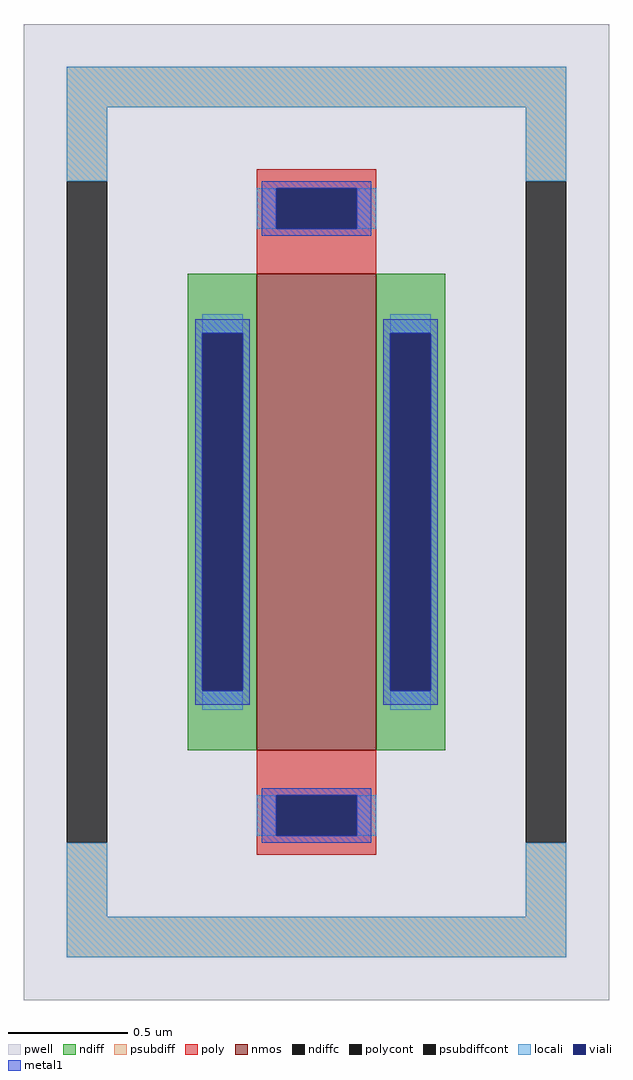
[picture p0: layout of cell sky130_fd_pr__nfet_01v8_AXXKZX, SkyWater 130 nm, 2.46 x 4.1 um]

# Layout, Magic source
magic
tech sky130A
<< pwell >>
rect -123 -205 123 205
<< nmos >>
rect -25 -100 25 100
<< ndiff >>
rect -54 75 -25 100
rect -54 -75 -48 75
rect -31 -75 -25 75
rect -54 -100 -25 -75
rect 25 75 54 100
rect 25 -75 31 75
rect 48 -75 54 75
rect 25 -100 54 -75
<< ndiffc >>
rect -48 -75 -31 75
rect 31 -75 48 75
<< psubdiff >>
rect -105 170 105 187
rect -105 139 -88 170
rect 88 139 105 170
rect -105 -170 -88 -139
rect 88 -170 105 -139
rect -105 -187 105 -170
<< psubdiffcont >>
rect -105 -139 -88 139
rect 88 -139 105 139
<< poly >>
rect -25 136 25 144
rect -25 119 -17 136
rect 17 119 25 136
rect -25 100 25 119
rect -25 -119 25 -100
rect -25 -136 -17 -119
rect 17 -136 25 -119
rect -25 -144 25 -136
<< polycont >>
rect -17 119 17 136
rect -17 -136 17 -119
<< locali >>
rect -105 170 105 187
rect -105 139 -88 170
rect 88 139 105 170
rect -25 119 -17 136
rect 17 119 25 136
rect -48 75 -31 83
rect -48 -83 -31 -75
rect 31 75 48 83
rect 31 -83 48 -75
rect -25 -136 -17 -119
rect 17 -136 25 -119
rect -105 -170 -88 -139
rect 88 -170 105 -139
rect -105 -187 105 -170
<< viali >>
rect -17 119 17 136
rect -48 -75 -31 75
rect 31 -75 48 75
rect -17 -136 17 -119
<< metal1 >>
rect -23 136 23 139
rect -23 119 -17 136
rect 17 119 23 136
rect -23 116 23 119
rect -51 75 -28 81
rect -51 -75 -48 75
rect -31 -75 -28 75
rect -51 -81 -28 -75
rect 28 75 51 81
rect 28 -75 31 75
rect 48 -75 51 75
rect 28 -81 51 -75
rect -23 -119 23 -116
rect -23 -136 -17 -119
rect 17 -136 23 -119
rect -23 -139 23 -136
<< properties >>
string gencell sky130_fd_pr__nfet_01v8
string FIXED_BBOX -96 -178 96 178
string parameters w 2 l 0.5 m 1 nf 1 diffcov 80 polycov 100 guard 1 glc 1 grc 1 gtc 0 gbc 0 tbcov 100 rlcov 100 topc 1 botc 1 poverlap 0 doverlap 1 lmin 0.15 wmin 0.42 compatible {sky130_fd_pr__nfet_01v8 sky130_fd_pr__nfet_01v8_lvt  sky130_fd_bs_flash__special_sonosfet_star  sky130_fd_pr__nfet_g5v0d10v5 sky130_fd_pr__nfet_05v0_nvt  sky130_fd_pr__nfet_03v3_nvt} full_metal 1 viasrc 80 viadrn 80 viagate 100 viagb 0 viagr 0 viagl 0 viagt 0
string library sky130
<< end >>
